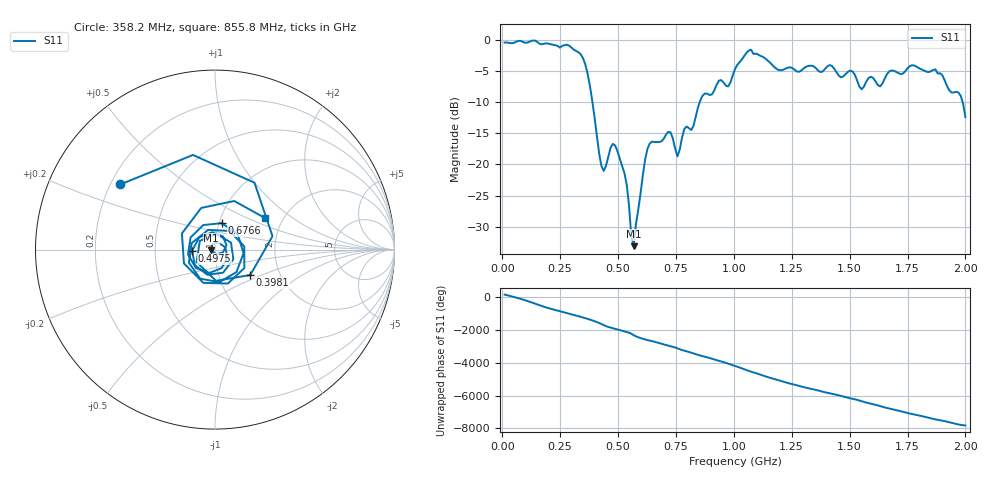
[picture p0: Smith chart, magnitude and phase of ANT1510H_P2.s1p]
!Created with skrf (http://scikit-rf.org).
# Hz S RI R 50.0
!freq ReS11 ImS11
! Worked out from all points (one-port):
!   201 points, 10 MHz to 2 GHz, reference 50 ohm
!   lowest |S11| = -33.1 dB at 567.2 MHz (marker M1), VSWR 1.05, Z = 47.9 - j0.407 ohm
!   |S11| at or under -10 dB: 389.4 MHz to 852.2 MHz (462.8 MHz wide, 74.6 % of centre); 1.988 GHz to end of sweep
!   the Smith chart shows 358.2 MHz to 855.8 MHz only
!   S11 on the Smith chart (normalised r, x): 358.2 MHz: 0.24, +0.30; 398.1 MHz: 1.41, -0.43; 497.6 MHz: 0.77, -0.01; 676.6 MHz: 1.03, +0.31; 855.8 MHz: 1.63, +0.64
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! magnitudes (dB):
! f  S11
! 10 MHz  -0.4
! 258.8 MHz  -0.9
! 358.2 MHz  -3.9
! 398.1 MHz  -12.3
! 437.9 MHz  -21.0
! 477.6 MHz  -16.7
! 497.6 MHz  -17.9
! 507.5 MHz  -19.1
! 537.4 MHz  -23.2
! 557.2 MHz  -31.6
! 567.2 MHz  -33.1
! 626.9 MHz  -17.5
! 676.6 MHz  -16.4
! 726.4 MHz  -14.8
! 756.2 MHz  -18.7
! 786.1 MHz  -14.3
! 816 MHz  -14.5
! 855.8 MHz  -9.6
! 975.1 MHz  -7.4
! 1.005 GHz  -4.6
! 1.075 GHz  -1.5
! 1.254 GHz  -4.5
! 1.502 GHz  -4.9
! 1.552 GHz  -7.9
! 1.751 GHz  -4.5
! 1.901 GHz  -5.6
! 1.98 GHz  -9.0
! 2 GHz  -12.4
